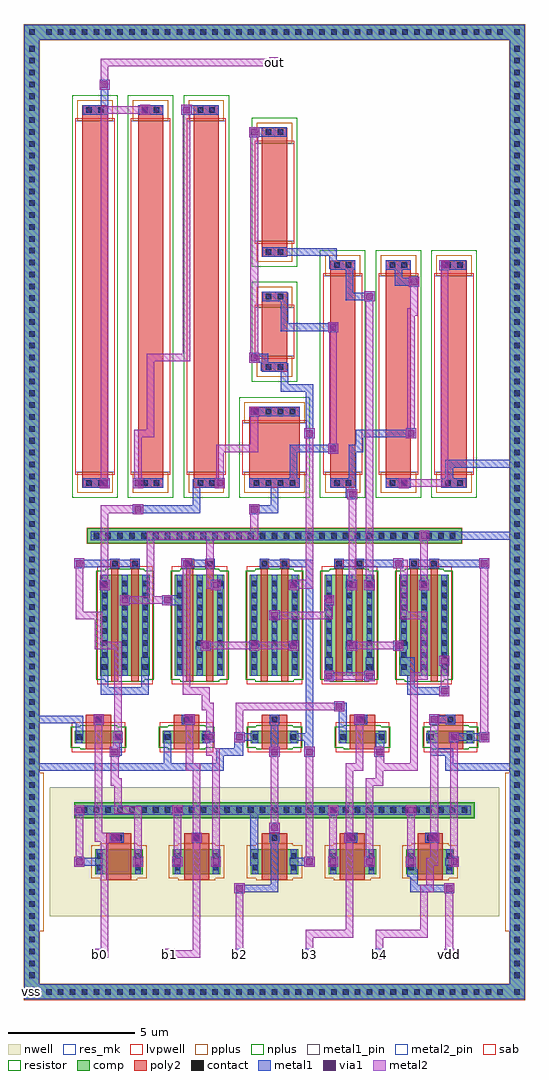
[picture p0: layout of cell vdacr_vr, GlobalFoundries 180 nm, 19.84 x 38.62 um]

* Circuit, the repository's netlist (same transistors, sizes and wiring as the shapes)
* NGSPICE file created from vdacr_vr.ext - technology: gf180mcuD

.subckt r_w1_l7p765 a_n100_n899# a_n100_777# VSUBS
X0 a_n100_777# a_n100_n899# VSUBS ppolyf_u_1k r_width=1u r_length=7.77u
.ends

.subckt r_w2_l1p97 a_n200_n319# a_n200_197# VSUBS
X0 a_n200_197# a_n200_n319# VSUBS ppolyf_u_1k r_width=2u r_length=1.97u
.ends

.subckt r_w1_l1p94 a_n100_n316# a_n100_194# VSUBS
X0 a_n100_194# a_n100_n316# VSUBS ppolyf_u_1k r_width=1u r_length=1.94u
.ends

.subckt r_w1_l3p88 a_n100_n510# a_n100_388# VSUBS
X0 a_n100_388# a_n100_n510# VSUBS ppolyf_u_1k r_width=1u r_length=3.88u
.ends

.subckt n_w0p5_l1 a_100_n50# a_n100_n94# a_n188_n50# VSUBS
X0 a_100_n50# a_n100_n94# a_n188_n50# VSUBS nfet_03v3 ad=0.22p pd=1.88u as=0.22p ps=1.88u w=0.5u l=1u
.ends

.subckt p_w1_l1 a_n188_n100# a_100_n100# a_n100_n144# w_n274_n230#
X0 a_100_n100# a_n100_n144# a_n188_n100# w_n274_n230# pfet_03v3 ad=0.44p pd=2.88u as=0.44p ps=2.88u w=1u l=1u
.ends

.subckt r_w1_l13p91 a_n100_n1513# a_n100_1391# VSUBS
X0 a_n100_1391# a_n100_n1513# VSUBS ppolyf_u_1k r_width=1u r_length=13.91u
.ends

.subckt n_w4_l0p28_f2 a_n52_n400# a_52_n444# a_108_n400# a_n108_n444# a_n196_n400#
+ VSUBS
X0 a_108_n400# a_52_n444# a_n52_n400# VSUBS nfet_03v3 ad=1.76p pd=8.88u as=1.04p ps=4.52u w=4u l=0.28u
X1 a_n52_n400# a_n108_n444# a_n196_n400# VSUBS nfet_03v3 ad=1.04p pd=4.52u as=1.76p ps=8.88u w=4u l=0.28u
.ends

.subckt vdacr_vr b0 b1 b2 b3 b4 vdd out vss
XXRS4_0 m1_2862_4048# m1_2974_2650# vss r_w1_l7p765
XXRS4_1 vss m1_2862_4048# vss r_w1_l7p765
XXRS0 m1_756_3120# m1_606_2410# vss r_w2_l1p97
XXRS1 m1_1780_5040# m1_756_3120# vss r_w1_l1p94
XXRS3 m1_2974_2650# m1_2372_2520# vss r_w1_l7p765
XXRS2 m1_2372_2520# m1_1780_5040# vss r_w1_l3p88
XIB4n a_3048_3416# b4 vss vss n_w0p5_l1
XIB3n a_2456_3416# b3 vss vss n_w0p5_l1
XIB4p vdd a_3048_3416# b4 vdd p_w1_l1
XIB2n a_1864_3416# b2 vss vss n_w0p5_l1
XIB3p vdd a_2456_3416# b3 vdd p_w1_l1
XIB2p vdd a_1864_3416# b2 vdd p_w1_l1
XIB1n a_1272_3416# b1 vss vss n_w0p5_l1
XIB0n a_680_3416# b0 vss vss n_w0p5_l1
XIB1p vdd a_1272_3416# b1 vdd p_w1_l1
XIB0p vdd a_680_3416# b0 vdd p_w1_l1
XXRB0 m1_462_4048# out vss r_w1_l13p91
XSW0 m1_756_3120# a_680_3416# m1_606_2410# a_680_3416# m1_606_2410# vss n_w4_l0p28_f2
XXRB1 m1_860_4046# m1_462_4048# vss r_w1_l13p91
XSW2 m1_2372_2520# a_1864_3416# m1_1780_5040# a_1864_3416# m1_1780_5040# vss n_w4_l0p28_f2
XSW1 m1_1780_5040# a_1272_3416# m1_756_3120# a_1272_3416# m1_756_3120# vss n_w4_l0p28_f2
XXRB2 m1_606_2410# m1_860_4046# vss r_w1_l13p91
XSW3 m1_2974_2650# a_2456_3416# m1_2372_2520# a_2456_3416# m1_2372_2520# vss n_w4_l0p28_f2
XSW4 vss a_3048_3416# m1_2974_2650# a_3048_3416# m1_2974_2650# vss n_w4_l0p28_f2
.ends

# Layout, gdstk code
import gdstk
lib = gdstk.Library(unit=1e-6, precision=1e-09)
def R(c, l, rs):  # rectangles x0, y0, x1, y1
    for r in rs: c.add(gdstk.rectangle(r[:2], r[2:], *l))
def A(c, l, x, y, w, h, nx, ny, dx, dy):  # array of equal rectangles
    R(c, l, [(x+i*dx, y+j*dy, x+i*dx+w, y+j*dy+h) for i in range(nx) for j in range(ny)])
nwell = (21, 0)
comp = (22, 0)
poly2 = (30, 0)
pplus = (31, 0)
nplus = (32, 0)
contact = (33, 0)
metal1 = (34, 0)
metal1_pin = (34, 10)
via1 = (35, 0)
metal2 = (36, 0)
metal2_pin = (36, 10)
sab = (49, 0)
resistor = (62, 0)
res_mk = (110, 5)
lvpwell = (204, 0)

p_w1_l1 = lib.new_cell('p_w1_l1')
R(p_w1_l1, nwell, [(-1.37,-1.15,1.37,1.15)])
R(p_w1_l1, comp, [(-0.94,-0.5,0.94,0.5)])
R(p_w1_l1, poly2, [(-0.5,-0.72,0.5,0.72)])
R(p_w1_l1, pplus, [(-0.73,-0.73,0.73,-0.66), (-1.1,-0.66,1.1,0.66), (-0.73,0.66,0.73,0.73)])
R(p_w1_l1, contact, [(-0.87,-0.345,-0.65,-0.125), (0.65,-0.345,0.87,-0.125), (-0.87,0.125,-0.65,0.345), (0.65,0.125,0.87,0.345)])
R(p_w1_l1, metal1, [(-0.875,-0.49,-0.645,0.49), (0.645,-0.49,0.875,0.49)])

n_w0p5_l1 = lib.new_cell('n_w0p5_l1')
R(n_w0p5_l1, comp, [(-0.94,-0.25,0.94,0.25)])
R(n_w0p5_l1, poly2, [(-0.5,-0.47,0.5,0.47)])
R(n_w0p5_l1, nplus, [(-0.73,-0.48,0.73,-0.41), (-1.1,-0.41,1.1,0.41), (-0.73,0.41,0.73,0.48)])
R(n_w0p5_l1, contact, [(-0.87,-0.11,-0.65,0.11), (0.65,-0.11,0.87,0.11)])
R(n_w0p5_l1, metal1, [(-0.875,-0.24,-0.645,0.24), (0.645,-0.24,0.875,0.24)])
R(n_w0p5_l1, lvpwell, [(-1.06,-0.59,1.06,0.59)])

n_w4_l0p28_f2 = lib.new_cell('n_w4_l0p28_f2')
R(n_w4_l0p28_f2, comp, [(-0.98,-2,0.98,2)])
R(n_w4_l0p28_f2, poly2, [(-0.54,-2.22,-0.26,2.22), (0.26,-2.22,0.54,2.22)])
R(n_w4_l0p28_f2, nplus, [(-0.77,-2.23,0.77,-2.16), (-1.14,-2.16,1.14,2.16), (-0.77,2.16,0.77,2.23)])
A(n_w4_l0p28_f2, contact, -0.91, -1.755, 0.22, 0.22, 3, 8, 0.8, 0.47)
A(n_w4_l0p28_f2, metal1, -0.915, -1.99, 0.23, 3.98, 3, 1, 0.8, 0)
R(n_w4_l0p28_f2, lvpwell, [(-1.1,-2.34,1.1,2.34)])

r_w1_l13p91 = lib.new_cell('r_w1_l13p91')
R(r_w1_l13p91, poly2, [(-0.5,-7.565,0.5,7.565)])
R(r_w1_l13p91, pplus, [(-0.7,-7.765,0.7,-6.955), (-0.7,6.955,0.7,7.765)])
R(r_w1_l13p91, contact, [(-0.345,-7.495,-0.125,-7.275), (0.125,-7.495,0.345,-7.275), (-0.345,7.275,-0.125,7.495), (0.125,7.275,0.345,7.495)])
R(r_w1_l13p91, metal1, [(-0.49,-7.5,0.49,-7.27), (-0.49,7.27,0.49,7.5)])
R(r_w1_l13p91, sab, [(-0.78,-7.055,0.78,7.055), (-0.78,-6.955,0.78,6.955)])
R(r_w1_l13p91, resistor, [(-0.9,-7.965,0.9,7.965)])
R(r_w1_l13p91, res_mk, [(-0.78,-6.955,0.78,6.955), (-0.5,-6.955,0.5,6.955)])

r_w2_l1p97 = lib.new_cell('r_w2_l1p97')
R(r_w2_l1p97, poly2, [(-1,-1.595,1,1.595)])
R(r_w2_l1p97, pplus, [(-1.2,-1.795,1.2,-0.985), (-1.2,0.985,1.2,1.795)])
A(r_w2_l1p97, contact, -0.815, -1.525, 0.22, 0.22, 4, 2, 0.47, 2.83)
R(r_w2_l1p97, metal1, [(-0.99,-1.53,0.99,-1.3), (-0.99,1.3,0.99,1.53)])
R(r_w2_l1p97, sab, [(-1.28,-1.085,1.28,1.085), (-1.28,-0.985,1.28,0.985)])
R(r_w2_l1p97, resistor, [(-1.4,-1.995,1.4,1.995)])
R(r_w2_l1p97, res_mk, [(-1.28,-0.985,1.28,0.985), (-1,-0.985,1,0.985)])

r_w1_l1p94 = lib.new_cell('r_w1_l1p94')
R(r_w1_l1p94, poly2, [(-0.5,-1.58,0.5,1.58)])
R(r_w1_l1p94, pplus, [(-0.7,-1.78,0.7,-0.97), (-0.7,0.97,0.7,1.78)])
R(r_w1_l1p94, contact, [(-0.345,-1.51,-0.125,-1.29), (0.125,-1.51,0.345,-1.29), (-0.345,1.29,-0.125,1.51), (0.125,1.29,0.345,1.51)])
R(r_w1_l1p94, metal1, [(-0.49,-1.515,0.49,-1.285), (-0.49,1.285,0.49,1.515)])
R(r_w1_l1p94, sab, [(-0.78,-1.07,0.78,1.07), (-0.78,-0.97,0.78,0.97)])
R(r_w1_l1p94, resistor, [(-0.9,-1.98,0.9,1.98)])
R(r_w1_l1p94, res_mk, [(-0.78,-0.97,0.78,0.97), (-0.5,-0.97,0.5,0.97)])

r_w1_l3p88 = lib.new_cell('r_w1_l3p88')
R(r_w1_l3p88, poly2, [(-0.5,-2.55,0.5,2.55)])
R(r_w1_l3p88, pplus, [(-0.7,-2.75,0.7,-1.94), (-0.7,1.94,0.7,2.75)])
R(r_w1_l3p88, contact, [(-0.345,-2.48,-0.125,-2.26), (0.125,-2.48,0.345,-2.26), (-0.345,2.26,-0.125,2.48), (0.125,2.26,0.345,2.48)])
R(r_w1_l3p88, metal1, [(-0.49,-2.485,0.49,-2.255), (-0.49,2.255,0.49,2.485)])
R(r_w1_l3p88, sab, [(-0.78,-2.04,0.78,2.04), (-0.78,-1.94,0.78,1.94)])
R(r_w1_l3p88, resistor, [(-0.9,-2.95,0.9,2.95)])
R(r_w1_l3p88, res_mk, [(-0.78,-1.94,0.78,1.94), (-0.5,-1.94,0.5,1.94)])

r_w1_l7p765 = lib.new_cell('r_w1_l7p765')
R(r_w1_l7p765, poly2, [(-0.5,-4.495,0.5,4.495)])
R(r_w1_l7p765, pplus, [(-0.7,-4.695,0.7,-3.885), (-0.7,3.885,0.7,4.695)])
R(r_w1_l7p765, contact, [(-0.345,-4.425,-0.125,-4.205), (0.125,-4.425,0.345,-4.205), (-0.345,4.205,-0.125,4.425), (0.125,4.205,0.345,4.425)])
R(r_w1_l7p765, metal1, [(-0.49,-4.43,0.49,-4.2), (-0.49,4.2,0.49,4.43)])
R(r_w1_l7p765, sab, [(-0.78,-3.985,0.78,3.985), (-0.78,-3.885,0.78,3.885)])
R(r_w1_l7p765, resistor, [(-0.9,-4.895,0.9,4.895)])
R(r_w1_l7p765, res_mk, [(-0.78,-3.885,0.78,3.885), (-0.5,-3.885,0.5,3.885)])

vdacr_vr = lib.new_cell('vdacr_vr')
R(vdacr_vr, nwell, [(1,3.3,18.8,8.39)])
R(vdacr_vr, comp, [(0,0,19.8,0.6), (0,0.6,0.6,37.98), (19.2,0.6,19.8,37.98), (2,7.19,17.8,7.79), (2.5,18.05,17.3,18.65), (0,37.98,19.8,38.58)])
A(vdacr_vr, poly2, 3.24, 5.95, 1, 0.63, 5, 1, 3.08, 0)
A(vdacr_vr, poly2, 2.44, 10.63, 1, 0.63, 5, 1, 3.48, 0)
R(vdacr_vr, poly2, [(3.44,16.81,3.72,17.08), (4.24,16.81,4.52,17.08), (6.4,16.81,6.68,17.08), (7.2,16.81,7.48,17.08), (9.36,16.81,9.64,17.08), (10.16,16.81,10.44,17.08), (12.32,16.81,12.6,17.08), (13.12,16.81,13.4,17.08), (15.28,16.81,15.56,17.08), (16.08,16.81,16.36,17.08), (3.4,17.08,3.76,17.44), (4.2,17.08,4.56,17.44), (6.36,17.08,6.72,17.44), (7.16,17.08,7.52,17.44), (9.32,17.08,9.68,17.44), (10.12,17.08,10.48,17.44), (12.28,17.08,12.64,17.44), (13.08,17.08,13.44,17.44), (15.24,17.08,15.6,17.44), (16.04,17.08,16.4,17.44)])
R(vdacr_vr, pplus, [(-0.02,-0.02,19.82,0.62), (-0.02,0.62,0.62,2.71), (19.18,0.62,19.82,2.71), (-0.02,2.71,0.76,8.98), (19.04,2.71,19.82,8.98), (-0.02,8.98,0.62,37.96), (19.18,8.98,19.82,37.96), (2.48,18.03,17.32,18.67), (-0.02,37.96,19.82,38.6)])
R(vdacr_vr, nplus, [(1.98,7.17,17.82,7.81)])
A(vdacr_vr, contact, 0.86, 0.19, 0.22, 0.22, 39, 2, 0.47, 37.98)
A(vdacr_vr, contact, 0.19, 0.85, 0.22, 0.22, 1, 79, 0, 0.47)
A(vdacr_vr, contact, 19.39, 0.85, 0.22, 0.22, 1, 79, 0, 0.47)
A(vdacr_vr, contact, 3.63, 6.29, 0.22, 0.22, 5, 1, 3.08, 0)
A(vdacr_vr, contact, 2.27, 7.38, 0.22, 0.22, 33, 1, 0.47, 0)
A(vdacr_vr, contact, 2.83, 10.97, 0.22, 0.22, 5, 1, 3.48, 0)
A(vdacr_vr, contact, 2.74, 18.24, 0.22, 0.22, 31, 1, 0.47, 0)
R(vdacr_vr, contact, [(0.19,0.19,0.41,0.41), (19.39,0.19,19.61,0.41), (3.47,17.15,3.69,17.37), (4.27,17.15,4.49,17.37), (6.43,17.15,6.65,17.37), (7.23,17.15,7.45,17.37), (9.39,17.15,9.61,17.37), (10.19,17.15,10.41,17.37), (12.35,17.15,12.57,17.37), (13.15,17.15,13.37,17.37), (15.31,17.15,15.53,17.37), (16.11,17.15,16.33,17.37), (0.19,38.17,0.41,38.39), (19.39,38.17,19.61,38.39)])
R(vdacr_vr, metal1, [(0,0,19.8,0.6), (0,0.6,0.6,9.05), (19.2,0.6,19.8,9.05), (8.315,4.2,8.715,4.25), (16.615,4.2,17.015,4.25), (8.315,4.25,10.05,4.55), (15.27,4.25,17.015,4.55), (8.315,4.55,8.715,4.6), (9.75,4.55,10.05,6.21), (15.27,4.55,15.57,4.85), (16.615,4.55,17.015,4.6), (15.15,4.85,15.57,5.15), (15.15,5.15,15.185,5.25), (15.415,5.15,15.5,5.25), (1.98,5.25,2.38,5.3), (4.3,5.25,4.7,5.65), (5.86,5.25,6.26,5.65), (7.38,5.25,7.78,5.65), (11.085,5.25,11.485,5.3), (12.02,5.25,12.42,5.65), (13.46,5.25,13.86,5.65), (15.1,5.25,15.5,5.65), (16.8,5.25,17.2,5.3), (1.98,5.3,3.09,5.6), (8.95,5.3,9.25,7.32), (10.51,5.3,11.485,5.6), (16.665,5.3,17.2,5.6), (1.98,5.6,2.38,5.65), (11.085,5.6,11.485,5.65), (16.8,5.6,17.2,5.65), (3.38,6.2,3.78,6.21), (6.62,6.2,7.02,6.6), (12.66,6.2,13.06,6.21), (16.02,6.2,16.42,6.21), (3.38,6.21,3.93,6.59), (9.71,6.21,10.09,6.6), (12.66,6.21,13.17,6.59), (15.87,6.21,16.42,6.59), (3.38,6.59,3.78,6.6), (12.66,6.59,13.06,6.6), (16.02,6.59,16.42,6.6), (9.7,6.6,10.1,7), (1.98,7.29,2.38,7.32), (5.86,7.29,6.26,7.32), (12.02,7.29,12.42,7.32), (15.1,7.29,15.5,7.32), (1.98,7.32,17.67,7.66), (1.98,7.66,2.38,7.69), (5.86,7.66,6.26,7.69), (12.02,7.66,12.42,7.69), (15.1,7.66,15.5,7.69), (0,9.05,7.89,9.35), (16.665,9.05,19.8,9.35), (0,9.35,0.6,10.93), (5.51,9.35,5.81,10.53), (7.59,9.35,7.89,9.65), (16.665,9.35,16.965,9.65), (19.2,9.35,19.8,18.2), (3.38,9.6,3.78,9.65), (9.7,9.6,10.1,10), (11.085,9.6,11.485,10), (13.85,9.6,14.25,10), (3.38,9.65,3.85,10), (7.59,9.65,8.665,9.95), (16.07,9.65,16.965,9.95), (8.315,9.95,8.665,10.18), (16.07,9.95,16.37,10.23), (3.5,10,3.85,10.18), (9.75,10,10.05,10.89), (11.085,10,11.435,10.23), (13.9,10,14.25,10.14), (13.9,10.14,14.2,10.53), (3.5,10.18,3.9,10.58), (7.14,10.18,7.54,10.23), (8.315,10.18,8.715,10.23), (16.8,10.18,17.2,10.23), (18,10.18,18.4,10.23), (2.03,10.23,2.33,10.93), (7.03,10.23,7.54,10.53), (8.315,10.23,9.25,10.53), (10.51,10.23,11.435,10.53), (12.45,10.23,12.75,11.4), (15.91,10.23,16.37,10.53), (16.8,10.23,18.4,10.53), (7.14,10.53,7.54,10.58), (8.315,10.53,8.715,10.58), (11.135,10.53,11.435,17.11), (16.8,10.53,17.2,10.58), (18,10.53,18.4,10.58), (2.74,10.88,3.14,11.28), (6.34,10.88,6.74,10.89), (13.06,10.88,13.46,10.89), (16.02,10.88,16.42,10.93), (6.23,10.89,6.74,11.27), (9.71,10.89,10.09,11.27), (13.06,10.89,13.57,11.27), (16.67,10.89,17.05,10.93), (0,10.93,2.33,11.23), (16.02,10.93,17.05,11.23), (0,11.23,0.6,37.98), (16.02,11.23,16.42,11.28), (16.67,11.23,17.05,11.27), (6.34,11.27,6.74,11.28), (13.06,11.27,13.46,11.28), (12.26,11.4,12.75,11.75), (12.26,11.75,12.66,11.8), (16.42,12,16.82,12.05), (3.03,12.05,4.93,12.35), (15.15,12.05,16.82,12.35), (3.03,12.35,3.33,13.55), (4.63,12.35,4.93,13.55), (15.15,12.35,15.45,12.82), (16.42,12.35,16.82,12.4), (11.86,12.6,12.26,13), (13.46,12.6,13.86,13), (15.135,12.82,15.45,13.25), (11.91,13,12.21,13.55), (13.51,13,13.81,13.55), (16.42,13.2,16.82,13.6), (14.87,13.25,15.45,13.55), (6.98,13.8,7.38,13.85), (8.9,13.8,9.3,14.2), (10.46,13.8,10.86,14.2), (12.78,13.8,13.18,13.85), (14.6,13.8,15,13.85), (6.79,13.85,7.38,14.15), (12.71,13.85,13.18,14.15), (14.6,13.85,15.17,14.15), (6.98,14.15,7.38,14.2), (12.78,14.15,13.18,14.2), (14.6,14.15,15,14.2), (9.7,15,10.1,15.4), (3.78,15.6,4.18,16), (5.46,15.6,6.025,15.65), (11.86,15.6,12.26,16), (5.46,15.65,6.21,15.95), (5.46,15.95,6.025,16), (2.98,16.2,3.38,16.6), (7.38,16.2,7.78,16.25), (10.46,16.2,10.86,16.6), (12.78,16.2,13.18,16.25), (13.46,16.2,13.86,16.6), (15.62,16.2,16.02,16.6), (7.38,16.25,7.89,16.55), (12.71,16.25,13.18,16.55), (7.38,16.55,7.78,16.6), (12.78,16.55,13.18,16.6), (1.98,17.06,2.38,17.11), (6.22,17.06,6.62,17.07), (14.6,17.06,15,17.11), (18,17.06,18.4,17.11), (3.39,17.07,3.77,17.11), (4.19,17.07,4.57,17.11), (6.22,17.07,6.73,17.11), (7.15,17.07,7.53,17.11), (9.31,17.07,9.69,17.11), (10.11,17.07,10.49,17.11), (12.27,17.07,12.65,17.11), (13.07,17.07,13.45,17.11), (15.23,17.07,15.61,17.11), (16.03,17.07,16.41,17.11), (1.98,17.11,4.57,17.41), (6.22,17.11,7.53,17.41), (9.31,17.11,11.435,17.41), (12.27,17.11,15,17.41), (15.23,17.11,18.4,17.41), (1.98,17.41,2.38,17.46), (3.39,17.41,3.77,17.45), (4.19,17.41,4.57,17.45), (6.22,17.41,6.73,17.45), (7.15,17.41,7.53,17.45), (9.31,17.41,9.69,17.45), (10.11,17.41,10.49,17.45), (12.27,17.41,12.65,17.45), (13.07,17.41,13.45,17.45), (14.6,17.41,15,17.46), (15.23,17.41,15.61,17.45), (16.03,17.41,16.41,17.45), (18,17.41,18.4,17.46), (6.22,17.45,6.62,17.46), (15.62,18.15,16.02,18.18), (2.63,18.18,17.17,18.2), (2.63,18.2,19.8,18.5), (2.63,18.5,17.17,18.52), (19.2,18.5,19.8,21.05), (15.62,18.52,16.02,18.55), (4.3,19.2,4.7,19.25), (8.9,19.2,9.3,19.25), (4.3,19.25,6.97,19.55), (8.9,19.25,10.05,19.55), (4.3,19.55,4.7,19.6), (6.67,19.55,6.97,20.24), (8.9,19.55,9.3,19.6), (9.75,19.55,10.05,20.24), (12.78,19.8,13.18,19.85), (12.71,19.85,13.18,20.2), (12.71,20.2,13.13,20.24), (2.98,20.23,3.38,20.24), (4.3,20.23,4.7,20.24), (7.54,20.23,7.94,20.24), (14.82,20.23,15.22,20.24), (2.31,20.24,3.38,20.62), (4.3,20.24,5.49,20.62), (6.67,20.24,7.94,20.58), (8.91,20.24,10.89,20.62), (12.11,20.24,13.13,20.62), (14.31,20.24,15.29,20.62), (16.51,20.24,17.49,20.62), (6.71,20.58,7.94,20.62), (2.98,20.62,3.38,20.63), (4.3,20.62,4.7,20.63), (7.54,20.62,7.94,20.63), (10.51,20.62,10.81,21.65), (12.83,20.62,13.13,21.65), (14.82,20.62,15.22,20.63), (16.665,20.62,16.965,21.05), (16.665,21.05,19.8,21.35), (19.2,21.35,19.8,37.98), (12.02,21.6,12.42,21.65), (10.51,21.65,12.42,21.95), (12.83,21.65,13.41,21.95), (12.02,21.95,12.42,22), (13.11,21.95,13.41,22.25), (11.085,22.2,11.485,22.6), (15.1,22.2,15.5,22.25), (13.11,22.25,15.5,22.55), (15.1,22.55,15.5,22.6), (11.135,22.6,11.435,24.05), (8.9,23.06,9.3,23.07), (8.9,23.07,10.89,23.45), (8.9,23.45,9.3,23.46), (10.15,24.05,11.435,24.35), (10.15,24.35,10.45,24.83), (9.41,24.83,10.45,24.87), (9.35,24.87,10.45,25.17), (9.35,25.17,10.39,25.2), (8.9,25.2,10.39,25.21), (8.9,25.21,9.65,25.55), (8.9,25.55,9.3,25.6), (12.02,26.4,12.42,26.45), (10.15,26.45,12.42,26.75), (10.15,26.75,10.45,27.63), (12.02,26.75,12.42,26.8), (13.46,27.62,13.86,27.67), (9.41,27.63,10.45,27.97), (12.71,27.67,13.86,27.97), (9.41,27.97,10.39,28.01), (12.71,27.97,13.01,28.87), (13.46,27.97,13.86,28.02), (15.22,28.2,15.62,28.25), (14.65,28.25,15.62,28.55), (14.65,28.55,14.95,28.87), (15.22,28.55,15.62,28.6), (16.42,28.86,16.82,28.87), (12.11,28.87,13.09,28.91), (14.31,28.87,15.29,29.25), (16.42,28.87,17.49,29.25), (12.07,28.91,13.09,29.25), (12.07,29.25,12.37,29.43), (16.42,29.25,16.82,29.26), (9.41,29.39,10.39,29.43), (9.41,29.43,12.37,29.73), (9.41,29.73,10.39,29.77), (8.9,34.12,9.3,34.13), (8.9,34.13,10.39,34.51), (8.9,34.51,9.3,34.52), (4.58,35,4.98,35.01), (6.22,35,6.62,35.01), (2.31,35.01,3.29,35.05), (4.51,35.01,5.49,35.39), (6.22,35.01,7.69,35.39), (2.31,35.05,3.33,35.39), (3.03,35.39,3.33,36), (4.58,35.39,4.98,35.4), (6.22,35.39,6.62,35.4), (2.98,36,3.38,36.4), (0,37.98,19.8,38.58)])
R(vdacr_vr, metal1_pin, [(0.1,0.1,0.5,0.5)])
R(vdacr_vr, via1, [(8.385,4.27,8.645,4.53), (16.685,4.27,16.945,4.53), (2.05,5.32,2.31,5.58), (4.37,5.32,4.63,5.58), (5.93,5.32,6.19,5.58), (7.45,5.32,7.71,5.58), (11.155,5.32,11.415,5.58), (12.09,5.32,12.35,5.58), (13.53,5.32,13.79,5.58), (15.17,5.32,15.43,5.58), (16.87,5.32,17.13,5.58), (3.45,6.27,3.71,6.53), (6.69,6.27,6.95,6.53), (12.73,6.27,12.99,6.53), (16.09,6.27,16.35,6.53), (9.77,6.67,10.03,6.93), (2.05,7.36,2.31,7.62), (5.93,7.36,6.19,7.62), (12.09,7.36,12.35,7.62), (15.17,7.36,15.43,7.62), (3.45,9.67,3.71,9.93), (9.77,9.67,10.03,9.93), (11.155,9.67,11.415,9.93), (13.92,9.67,14.18,9.93), (3.57,10.25,3.83,10.51), (7.21,10.25,7.47,10.51), (8.385,10.25,8.645,10.51), (16.87,10.25,17.13,10.51), (18.07,10.25,18.33,10.51), (2.81,10.95,3.07,11.21), (6.41,10.95,6.67,11.21), (13.13,10.95,13.39,11.21), (16.09,10.95,16.35,11.21), (12.33,11.47,12.59,11.73), (16.49,12.07,16.75,12.33), (11.93,12.67,12.19,12.93), (13.53,12.67,13.79,12.93), (16.49,13.27,16.75,13.53), (7.05,13.87,7.31,14.13), (8.97,13.87,9.23,14.13), (10.53,13.87,10.79,14.13), (12.85,13.87,13.11,14.13), (14.67,13.87,14.93,14.13), (9.77,15.07,10.03,15.33), (3.85,15.67,4.11,15.93), (5.53,15.67,5.79,15.93), (11.93,15.67,12.19,15.93), (3.05,16.27,3.31,16.53), (7.45,16.27,7.71,16.53), (10.53,16.27,10.79,16.53), (12.85,16.27,13.11,16.53), (13.53,16.27,13.79,16.53), (15.69,16.27,15.95,16.53), (2.05,17.13,2.31,17.39), (6.29,17.13,6.55,17.39), (14.67,17.13,14.93,17.39), (18.07,17.13,18.33,17.39), (15.69,18.22,15.95,18.48), (4.37,19.27,4.63,19.53), (8.97,19.27,9.23,19.53), (12.85,19.87,13.11,20.13), (3.05,20.3,3.31,20.56), (4.37,20.3,4.63,20.56), (7.61,20.3,7.87,20.56), (14.89,20.3,15.15,20.56), (12.09,21.67,12.35,21.93), (11.155,22.27,11.415,22.53), (15.17,22.27,15.43,22.53), (8.97,23.13,9.23,23.39), (8.97,25.27,9.23,25.53), (12.09,26.47,12.35,26.73), (13.53,27.69,13.79,27.95), (15.29,28.27,15.55,28.53), (16.49,28.93,16.75,29.19), (8.97,34.19,9.23,34.45), (4.65,35.07,4.91,35.33), (6.29,35.07,6.55,35.33), (3.05,36.07,3.31,36.33)])
A(vdacr_vr, metal2, 11.085, 1.6, 0.4, 0.4, 3, 1, 2.765, 0)
R(vdacr_vr, metal2, [(2.785,1.6,3.185,1.65), (5.55,1.6,5.95,1.65), (8.315,1.6,8.715,2), (2.785,1.65,3.33,2), (5.51,1.65,6.97,1.95), (5.55,1.95,5.95,2), (6.67,1.95,6.97,6.2), (3.03,2,3.33,6.2), (8.365,2,8.665,4.2), (11.135,2,11.435,2.45), (13.9,2,14.2,2.45), (16.665,2,16.965,4.2), (11.135,2.45,13.01,2.75), (13.9,2.45,15.97,2.75), (12.71,2.75,13.01,6.2), (15.67,2.75,15.97,4.25), (8.315,4.2,8.715,4.6), (16.615,4.2,17.015,4.6), (15.67,4.25,16.21,4.55), (15.91,4.55,16.21,5.3), (1.98,5.25,2.38,5.65), (4.3,5.25,4.7,5.65), (5.86,5.25,6.26,5.65), (7.38,5.25,7.78,5.65), (11.085,5.25,11.485,5.65), (12.02,5.25,12.42,5.65), (13.46,5.25,13.86,5.65), (15.1,5.25,15.5,5.65), (16.8,5.25,17.2,5.65), (15.91,5.3,16.37,5.6), (16.07,5.6,16.37,6.2), (2.03,5.65,2.33,7.29), (4.35,5.65,4.65,7.34), (5.91,5.65,6.21,7.29), (7.43,5.65,7.73,9.65), (11.135,5.65,11.435,9.6), (12.07,5.65,12.37,7.29), (13.51,5.65,13.81,8.45), (15.15,5.65,15.45,7.29), (16.85,5.65,17.15,10.18), (3.03,6.2,3.78,6.25), (6.62,6.2,7.02,6.6), (12.66,6.2,13.06,6.6), (16.02,6.2,16.42,6.6), (2.79,6.25,3.78,6.6), (2.79,6.6,3.09,10.88), (6.67,6.6,6.97,9.05), (9.7,6.6,10.1,7), (12.71,6.6,13.01,9.05), (16.07,6.6,16.37,10.88), (9.75,7,10.05,9.6), (1.98,7.29,2.38,7.69), (5.86,7.29,6.26,7.69), (12.02,7.29,12.42,7.69), (15.1,7.29,15.5,7.69), (3.55,7.34,4.65,7.64), (3.55,7.64,3.85,8.45), (3.43,8.45,3.85,8.75), (13.51,8.45,14.2,8.75), (3.43,8.75,3.73,9.6), (13.9,8.75,14.2,9.05), (6.39,9.05,6.97,9.35), (12.71,9.05,13.41,9.35), (13.9,9.05,15.57,9.35), (6.39,9.35,6.69,10.88), (13.11,9.35,13.41,10.88), (13.9,9.35,14.25,9.6), (15.27,9.35,15.57,12.65), (3.38,9.6,3.78,10), (9.7,9.6,10.1,10), (11.085,9.6,11.485,10), (13.85,9.6,14.25,10), (7.19,9.65,7.73,9.95), (7.19,9.95,7.54,10.18), (3.5,10,3.78,10.18), (3.5,10.18,3.9,10.58), (7.14,10.18,7.54,10.58), (8.315,10.18,8.715,10.58), (16.8,10.18,17.2,10.58), (18,10.18,18.4,10.58), (3.55,10.58,3.85,13.85), (7.19,10.58,7.49,11.45), (8.365,10.58,8.665,11.45), (18.05,10.58,18.35,17.06), (2.74,10.88,3.14,11.28), (6.34,10.88,6.74,11.28), (13.06,10.88,13.46,11.28), (16.02,10.88,16.42,11.28), (12.26,11.4,12.66,11.45), (7.03,11.45,7.49,11.75), (8.365,11.45,12.66,11.75), (7.03,11.75,7.33,12.05), (12.26,11.75,12.66,11.8), (16.42,12,16.82,12.4), (6.27,12.05,7.33,12.35), (6.27,12.35,6.57,17.06), (16.47,12.4,16.77,13.2), (11.86,12.6,12.26,12.65), (13.46,12.6,13.86,12.65), (11.86,12.65,13.86,12.95), (15.27,12.65,15.97,12.95), (11.86,12.95,12.26,13), (13.46,12.95,13.86,13), (15.67,12.95,15.97,15.05), (16.42,13.2,16.82,13.6), (6.98,13.8,7.38,13.85), (8.9,13.8,9.3,13.85), (10.46,13.8,10.86,13.85), (12.78,13.8,13.18,13.85), (14.6,13.8,15,13.85), (2.79,13.85,3.85,14.15), (6.98,13.85,10.86,14.15), (12.78,13.85,15,14.15), (2.79,14.15,3.09,15.05), (6.98,14.15,7.38,14.2), (8.9,14.15,9.3,14.2), (10.46,14.15,10.86,14.2), (12.78,14.15,13.18,14.2), (14.6,14.15,15,14.2), (9.7,15,10.1,15.05), (2.03,15.05,3.09,15.35), (9.7,15.05,12.21,15.35), (14.87,15.05,15.97,15.35), (2.03,15.35,2.33,17.06), (9.7,15.35,10.1,15.4), (11.86,15.35,12.21,15.6), (14.87,15.35,15.17,17.06), (3.78,15.6,4.18,15.65), (5.46,15.6,5.86,15.65), (11.86,15.6,12.26,16), (3.78,15.65,5.86,15.95), (3.78,15.95,4.18,16), (4.85,15.95,5.15,18.2), (5.46,15.95,5.86,16), (2.98,16.2,3.38,16.6), (7.38,16.2,7.78,16.25), (10.46,16.2,10.86,16.25), (12.78,16.2,13.18,16.6), (13.46,16.2,13.86,16.6), (15.62,16.2,16.02,16.6), (7.19,16.25,7.78,16.6), (10.46,16.25,11.435,16.6), (3.03,16.6,3.33,19.25), (7.19,16.6,7.49,18.2), (11.135,16.6,11.435,22.2), (12.83,16.6,13.13,19.8), (13.51,16.6,13.81,27.62), (15.67,16.6,15.97,18.15), (1.98,17.06,2.38,17.46), (6.22,17.06,6.62,17.46), (14.6,17.06,15.17,17.41), (18,17.06,18.4,17.46), (14.6,17.41,15,17.46), (15.62,18.15,16.02,18.55), (4.85,18.2,9.25,18.5), (8.95,18.5,9.25,19.2), (4.3,19.2,4.7,19.25), (8.9,19.2,9.3,19.6), (3.03,19.25,4.7,19.55), (4.3,19.55,4.7,19.6), (12.78,19.8,13.18,20.2), (2.98,20.23,3.38,20.63), (4.3,20.23,4.7,20.63), (7.54,20.23,7.94,20.63), (14.82,20.23,15.22,20.28), (14.82,20.28,16.77,20.58), (14.82,20.58,15.22,20.63), (16.47,20.58,16.77,28.86), (3.03,20.63,3.33,35.05), (4.35,20.63,4.65,22.25), (7.59,20.63,7.89,21.65), (12.02,21.6,12.42,22), (7.59,21.65,9.25,21.95), (8.95,21.95,9.25,23.06), (12.07,22,12.37,26.4), (11.085,22.2,11.485,22.6), (15.1,22.2,15.5,22.6), (4.35,22.25,5.15,22.55), (4.85,22.55,5.15,25.25), (15.15,22.6,15.45,27.05), (8.9,23.06,9.3,23.46), (8.9,25.2,9.3,25.6), (4.85,25.25,6.57,25.55), (6.27,25.55,6.57,35), (8.95,25.6,9.25,34.12), (12.02,26.4,12.42,26.8), (15.15,27.05,15.57,27.35), (15.27,27.35,15.57,28.2), (13.46,27.62,13.86,28.02), (15.22,28.2,15.62,28.6), (16.42,28.86,16.82,29.26), (8.9,34.12,9.3,34.52), (4.58,35,4.98,35.05), (6.22,35,6.62,35.4), (3.03,35.05,4.98,35.35), (4.58,35.35,4.98,35.4), (2.98,36,3.38,36.4), (3.03,36.4,3.33,36.93), (9.7,36.88,10.1,36.93), (3.03,36.93,10.1,37.23), (9.7,37.23,10.1,37.28)])
A(vdacr_vr, metal2_pin, 2.785, 1.6, 0.4, 0.4, 3, 1, 2.765, 0)
A(vdacr_vr, metal2_pin, 11.085, 1.6, 0.4, 0.4, 3, 1, 2.765, 0)
R(vdacr_vr, metal2_pin, [(9.7,36.88,10.1,37.28)])
vdacr_vr.add(gdstk.Reference(p_w1_l1, (3.74,5.45)))
vdacr_vr.add(gdstk.Reference(n_w0p5_l1, (2.94,10.38)))
vdacr_vr.add(gdstk.Reference(n_w4_l0p28_f2, (3.98,14.81)))
vdacr_vr.add(gdstk.Reference(p_w1_l1, (6.82,5.45)))
vdacr_vr.add(gdstk.Reference(n_w0p5_l1, (6.42,10.38)))
vdacr_vr.add(gdstk.Reference(n_w4_l0p28_f2, (6.94,14.81)))
vdacr_vr.add(gdstk.Reference(p_w1_l1, (9.9,5.45)))
vdacr_vr.add(gdstk.Reference(n_w0p5_l1, (9.9,10.38)))
vdacr_vr.add(gdstk.Reference(n_w4_l0p28_f2, (9.9,14.81)))
vdacr_vr.add(gdstk.Reference(p_w1_l1, (12.98,5.45)))
vdacr_vr.add(gdstk.Reference(n_w0p5_l1, (13.38,10.38)))
vdacr_vr.add(gdstk.Reference(n_w4_l0p28_f2, (12.86,14.81)))
vdacr_vr.add(gdstk.Reference(p_w1_l1, (16.06,5.45)))
vdacr_vr.add(gdstk.Reference(n_w4_l0p28_f2, (15.82,14.81)))
vdacr_vr.add(gdstk.Reference(n_w0p5_l1, (16.86,10.38)))
vdacr_vr.add(gdstk.Reference(r_w1_l13p91, (2.8,27.815)))
vdacr_vr.add(gdstk.Reference(r_w1_l13p91, (5,27.815)))
vdacr_vr.add(gdstk.Reference(r_w1_l13p91, (7.2,27.815)))
vdacr_vr.add(gdstk.Reference(r_w2_l1p97, (9.9,21.845)))
vdacr_vr.add(gdstk.Reference(r_w1_l1p94, (9.9,26.42)))
vdacr_vr.add(gdstk.Reference(r_w1_l3p88, (9.9,31.95)))
vdacr_vr.add(gdstk.Reference(r_w1_l7p765, (12.6,24.745)))
vdacr_vr.add(gdstk.Reference(r_w1_l7p765, (14.8,24.745)))
vdacr_vr.add(gdstk.Reference(r_w1_l7p765, (17,24.745)))
vdacr_vr.add(gdstk.Label('b0', (2.985,1.8), layer=36, texttype=10))
vdacr_vr.add(gdstk.Label('b1', (5.75,1.8), layer=36, texttype=10))
vdacr_vr.add(gdstk.Label('b2', (8.515,1.8), layer=36, texttype=10))
vdacr_vr.add(gdstk.Label('b3', (11.285,1.8), layer=36, texttype=10))
vdacr_vr.add(gdstk.Label('b4', (14.05,1.8), layer=36, texttype=10))
vdacr_vr.add(gdstk.Label('vdd', (16.815,1.8), layer=36, texttype=10))
vdacr_vr.add(gdstk.Label('out', (9.9,37.08), layer=36, texttype=10))
vdacr_vr.add(gdstk.Label('vss', (0.3,0.3), layer=34, texttype=10))

lib.write_gds('vdacr_vr.gds')
